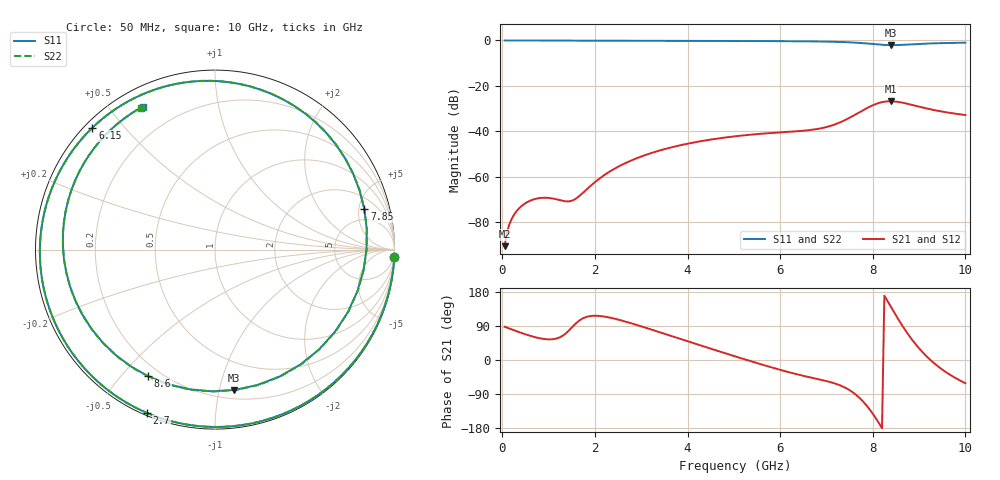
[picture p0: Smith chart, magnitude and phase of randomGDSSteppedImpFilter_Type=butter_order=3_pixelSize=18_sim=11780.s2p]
! freq	dB(S11)	phase(S11)	dB(S12)	phase(S12)
!  dB(S21)	phase(S21)	dB(S22)	phase(S22)
!S-par simulation data
#  GHz  S  DB  R 50
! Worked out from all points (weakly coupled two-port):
!   200 points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, 50 MHz to 10 GHz, reference 50 ohm
!   highest |S21| = -26.78 dB at 8.4 GHz (marker M1); lowest = -90.6 dB at 50 MHz (marker M2)
!   lowest |S11| = -2.1 dB at 8.4 GHz (marker M3), VSWR 8.50, Z = 13.4 - j55.5 ohm
!   |S11| at or under -10 dB: nowhere
!   |S22| runs from -2.0 to 0.0 dB; largest |S21 - S12| = 0
!   S11 on the Smith chart (normalised r, x): 50 MHz: 0, -48; 2.7 GHz: 0.01, -0.67; 6.15 GHz: 0.02, +0.41; 7.85 GHz: 3.25, +5.70; 8.6 GHz: 0.15, -0.59; 10 GHz: 0.08, +0.61
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0.05  -0.00 -2.4  -90.57 87.7  -90.57 87.7  -0.00 -2.4
0.15  -0.01 -7.1  -81.11 83.1  -81.11 83.1  -0.01 -7.1
0.65  -0.04 -30.2  -70.17 62.1  -70.17 62.1  -0.04 -30.2
1.45  -0.08 -65.2  -70.82 79.2  -70.82 79.2  -0.08 -65.2
1.75  -0.09 -77.4  -66.92 110.5  -66.92 110.5  -0.09 -77.4
2.7  -0.12 -112.6  -53.60 99.9  -53.60 99.9  -0.12 -112.6
3.4  -0.15 -135.9  -48.43 73.2  -48.43 73.2  -0.15 -135.9
4.25  -0.18 -162.3  -44.49 39.7  -44.49 39.7  -0.18 -162.3
5.05  -0.23 173.0  -42.14 8.8  -42.14 8.8  -0.23 173.0
6.15  -0.33 135.2  -40.28 -31.0  -40.28 -31.0  -0.33 135.2
6.7  -0.42 111.0  -39.30 -47.4  -39.30 -47.4  -0.42 111.1
7.35  -0.70 69.8  -35.55 -69.8  -35.55 -69.8  -0.70 69.9
7.6  -0.93 46.3  -32.91 -88.2  -32.91 -88.2  -0.92 46.5
7.85  -1.29 15.2  -30.04 -117.8  -30.04 -117.8  -1.28 15.6
8.1  -1.75 -25.4  -27.73 -160.1  -27.73 -160.1  -1.73 -24.6
8.35  -2.04 -72.7  -26.78 148.9  -26.78 148.9  -2.02 -71.6
8.4  -2.05 -82.2  -26.78 138.4  -26.78 138.4  -2.04 -81.0
8.6  -1.96 -117.8  -27.23 97.9  -27.23 97.9  -1.96 -116.6
8.85  -1.69 -154.1  -28.39 53.4  -28.39 53.4  -1.70 -152.9
9.1  -1.43 178.3  -29.64 17.4  -29.64 17.4  -1.44 179.4
9.55  -1.14 142.7  -31.50 -29.6  -31.50 -29.6  -1.14 143.6
10  -0.99 116.8  -32.84 -61.3  -32.84 -61.3  -0.99 117.6
